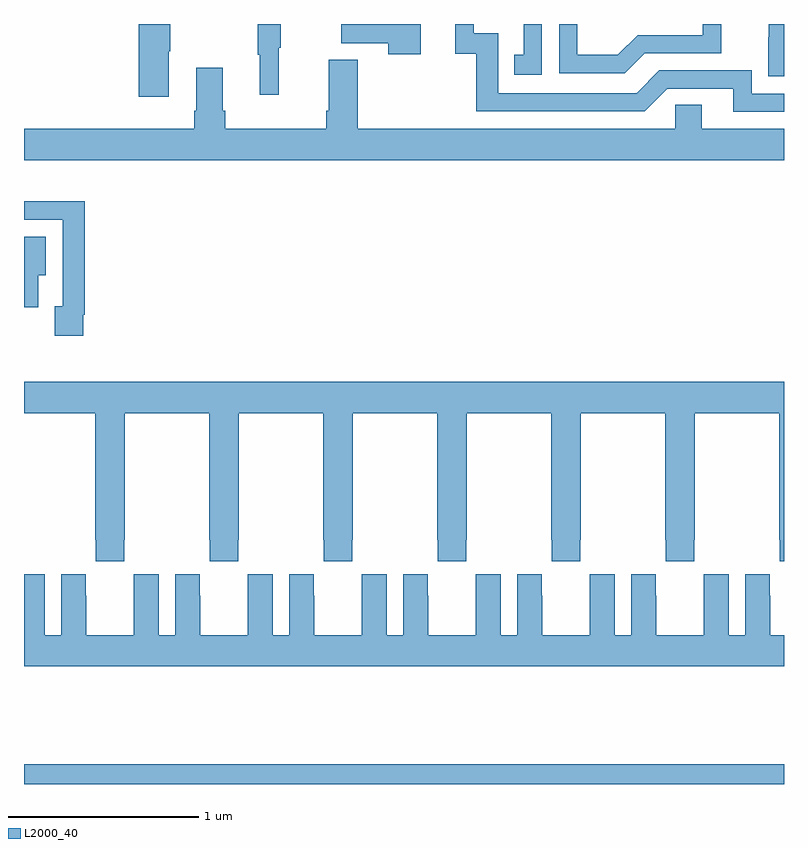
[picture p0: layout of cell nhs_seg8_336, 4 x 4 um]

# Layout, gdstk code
import gdstk
lib = gdstk.Library(unit=1e-6, precision=1e-09)
def R(c, l, rs):  # rectangles x0, y0, x1, y1
    for r in rs: c.add(gdstk.rectangle(r[:2], r[2:], *l))
def P(c, l, *ps):  # polygons
    for p in ps: c.add(gdstk.Polygon(p, *l))
L2000_40 = (2000, 40)

nhs_seg8_336 = lib.new_cell('nhs_seg8_336')
R(nhs_seg8_336, L2000_40, [(133,1095.9,137,1096.004)])
P(nhs_seg8_336, L2000_40, [(137,1099.9),(136.919,1099.9),(136.919,1099.831),(136.918,1099.831),(136.918,1099.625),(137,1099.625)],
  [(134.342,1099.776),(134.35,1099.776),(134.35,1099.9),(134.229,1099.9),(134.229,1099.739),(134.24,1099.739),(134.24,1099.527),(134.342,1099.527)],
  [(133.762,1099.756),(133.77,1099.756),(133.77,1099.9),(133.604,1099.9),(133.604,1099.518),(133.762,1099.518)],
  [(135.726,1099.9),(135.629,1099.9),(135.629,1099.737),(135.58,1099.737),(135.58,1099.632),(135.726,1099.632)],
  [(137,1099.533),(136.83,1099.533),(136.83,1099.656),(136.344,1099.656),(136.224,1099.536),(135.495,1099.536),(135.495,1099.851),(135.366,1099.851),(135.366,1099.9),(135.269,1099.9),(135.269,1099.743),(135.379,1099.743),(135.379,1099.44),(136.266,1099.44),(136.386,1099.56),(136.733,1099.56),(136.733,1099.437),(137,1099.437)],
  [(136.267,1099.746),(136.671,1099.746),(136.671,1099.9),(136.572,1099.9),(136.572,1099.842),(136.23,1099.842),(136.126,1099.738),(135.912,1099.738),(135.912,1099.9),(135.816,1099.9),(135.816,1099.641),(136.162,1099.641)],
  [(135.088,1099.9),(134.669,1099.9),(134.669,1099.799),(134.918,1099.799),(134.918,1099.74),(135.088,1099.74)],
  [(137,1099.348),(136.567,1099.348),(136.567,1099.475),(136.428,1099.475),(136.428,1099.348),(134.756,1099.348),(134.756,1099.711),(134.603,1099.711),(134.603,1099.444),(134.591,1099.444),(134.591,1099.348),(134.06,1099.348),(134.06,1099.444),(134.047,1099.444),(134.047,1099.669),(133.907,1099.669),(133.907,1099.444),(133.895,1099.444),(133.895,1099.348),(133,1099.348),(133,1099.184),(137,1099.184)],
  [(133.312,1098.37),(133.319,1098.37),(133.319,1098.968),(133.027,1098.968),(133.027,1098.966),(133,1098.966),(133,1098.87),(133.203,1098.87),(133.203,1098.414),(133.163,1098.414),(133.163,1098.258),(133.312,1098.258)],
  [(133.075,1098.578),(133.114,1098.578),(133.114,1098.781),(133,1098.781),(133,1098.41),(133.075,1098.41)],
  [(133.527,1097.185),(133.53,1097.185),(133.53,1097.852),(133.975,1097.852),(133.975,1097.185),(133.977,1097.185),(133.977,1097.073),(134.127,1097.073),(134.127,1097.185),(134.13,1097.185),(134.13,1097.852),(134.575,1097.852),(134.575,1097.185),(134.577,1097.185),(134.577,1097.073),(134.727,1097.073),(134.727,1097.185),(134.73,1097.185),(134.73,1097.852),(135.175,1097.852),(135.175,1097.185),(135.177,1097.185),(135.177,1097.073),(135.327,1097.073),(135.327,1097.185),(135.33,1097.185),(135.33,1097.852),(135.775,1097.852),(135.775,1097.185),(135.777,1097.185),(135.777,1097.073),(135.927,1097.073),(135.927,1097.185),(135.93,1097.185),(135.93,1097.852),(136.375,1097.852),(136.375,1097.185),(136.377,1097.185),(136.377,1097.073),(136.527,1097.073),(136.527,1097.185),(136.53,1097.185),(136.53,1097.852),(136.975,1097.852),(136.975,1097.185),(136.977,1097.185),(136.977,1097.073),(137,1097.073),(137,1098.016),(133,1098.016),(133,1097.852),(133.375,1097.852),(133.375,1097.185),(133.377,1097.185),(133.377,1097.073),(133.527,1097.073)],
  [(137,1096.684),(136.927,1096.684),(136.927,1096.892),(136.926,1096.892),(136.926,1097.005),(136.796,1097.005),(136.796,1096.684),(136.708,1096.684),(136.708,1097.005),(136.578,1097.005),(136.578,1096.892),(136.577,1096.892),(136.577,1096.684),(136.327,1096.684),(136.327,1096.892),(136.326,1096.892),(136.326,1097.005),(136.196,1097.005),(136.196,1096.684),(136.108,1096.684),(136.108,1097.005),(135.978,1097.005),(135.978,1096.892),(135.977,1096.892),(135.977,1096.684),(135.727,1096.684),(135.727,1096.892),(135.726,1096.892),(135.726,1097.005),(135.596,1097.005),(135.596,1096.684),(135.508,1096.684),(135.508,1097.005),(135.378,1097.005),(135.378,1096.892),(135.377,1096.892),(135.377,1096.684),(135.127,1096.684),(135.127,1096.892),(135.126,1096.892),(135.126,1097.005),(134.996,1097.005),(134.996,1096.684),(134.908,1096.684),(134.908,1097.005),(134.778,1097.005),(134.778,1096.892),(134.777,1096.892),(134.777,1096.684),(134.527,1096.684),(134.527,1096.892),(134.526,1096.892),(134.526,1097.005),(134.396,1097.005),(134.396,1096.684),(134.308,1096.684),(134.308,1097.005),(134.178,1097.005),(134.178,1096.892),(134.177,1096.892),(134.177,1096.684),(133.927,1096.684),(133.927,1096.892),(133.926,1096.892),(133.926,1097.005),(133.796,1097.005),(133.796,1096.684),(133.708,1096.684),(133.708,1097.005),(133.578,1097.005),(133.578,1096.892),(133.577,1096.892),(133.577,1096.684),(133.327,1096.684),(133.327,1096.892),(133.326,1096.892),(133.326,1097.005),(133.196,1097.005),(133.196,1096.684),(133.108,1096.684),(133.108,1097.005),(133,1097.005),(133,1096.52),(137,1096.52)])

lib.write_gds('nhs_seg8_336.gds')
